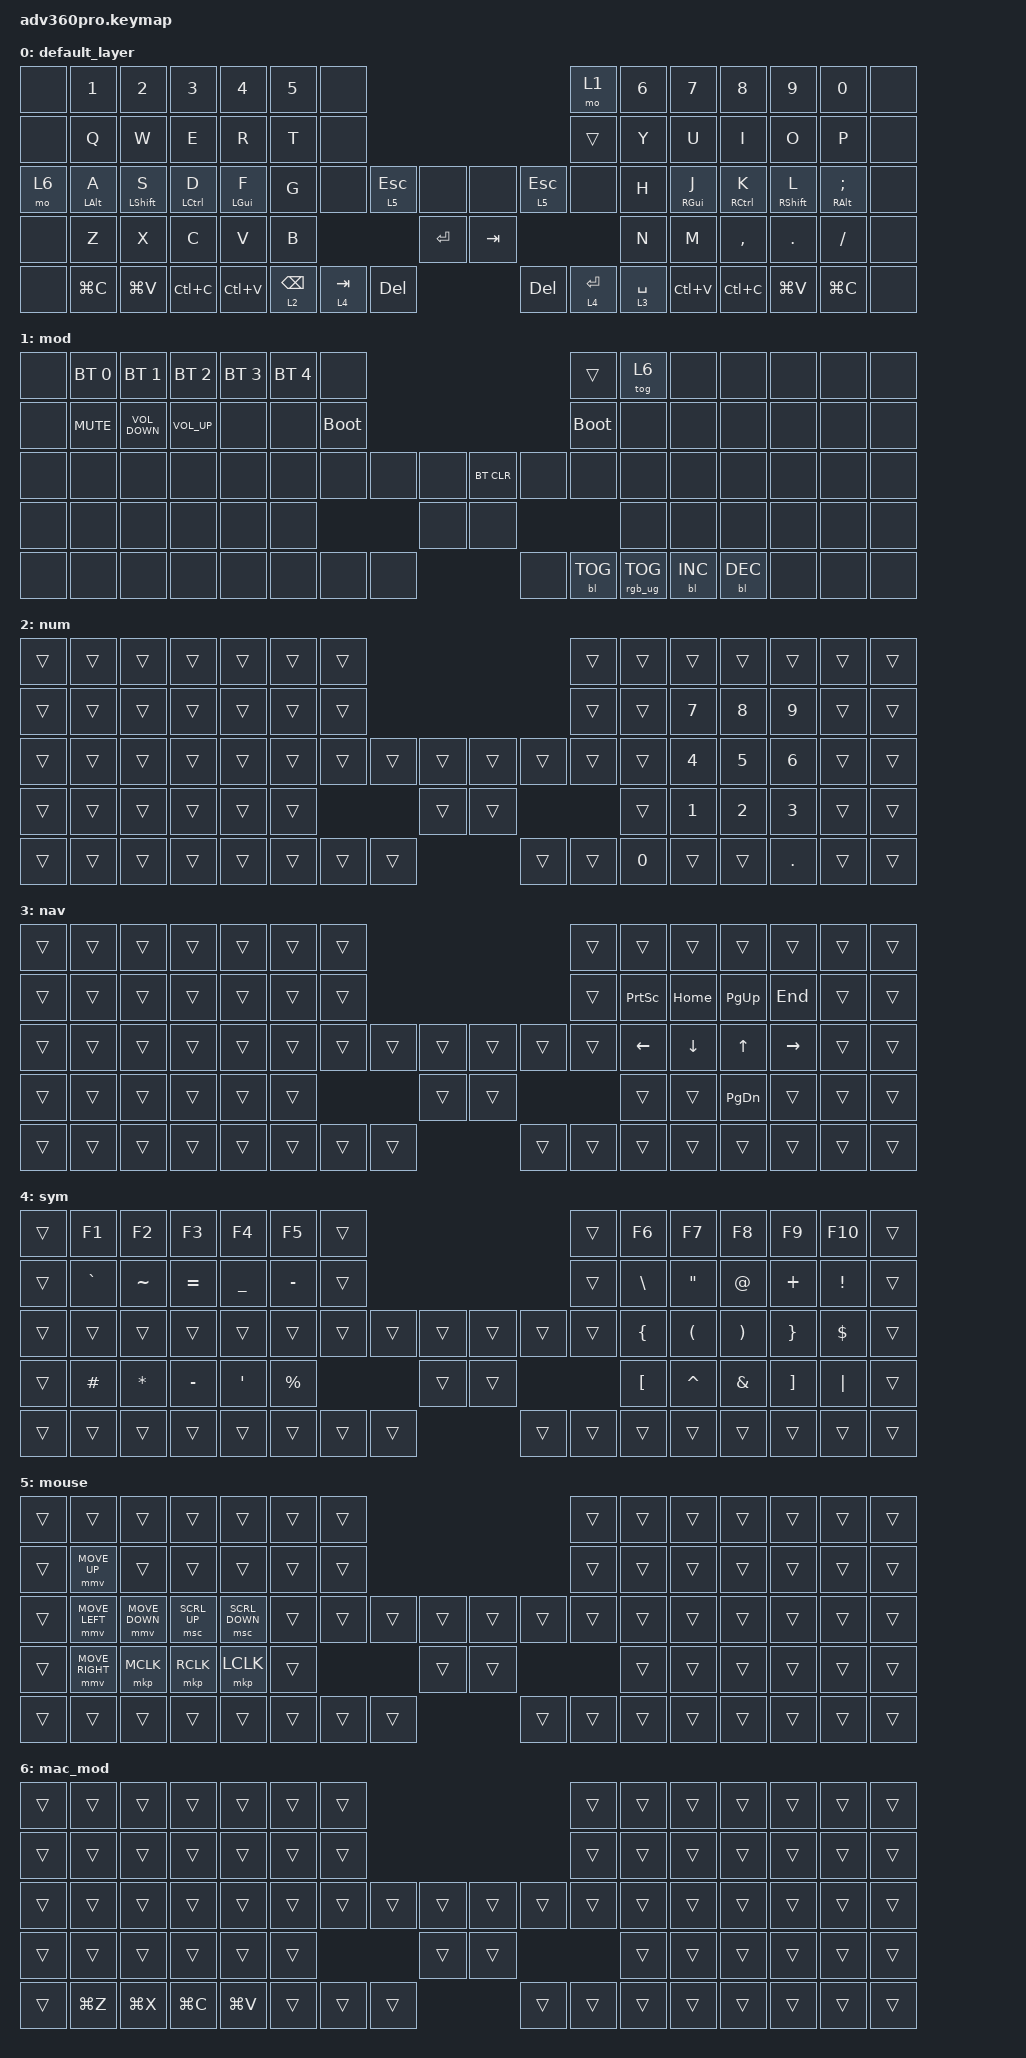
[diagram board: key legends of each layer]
#include <dt-bindings/zmk/mouse.h>
#include <behaviors.dtsi>
#include <dt-bindings/zmk/backlight.h>
#include <dt-bindings/zmk/bt.h>
#include <dt-bindings/zmk/keys.h>
#include <dt-bindings/zmk/pointing.h>
#include <dt-bindings/zmk/rgb.h>

&mt {
    tapping-term-ms = <200>;
    require-prior-idle-ms = <200>;
    flavor = "balanced";
};

/ {
    keymap {
        compatible = "zmk,keymap";

        default_layer {
            bindings = <
&none  &kp N1          &kp N2            &kp N3       &kp N4          &kp N5  &none                                                                                   &mo 1   &kp N6  &kp N7           &kp N8       &kp N9             &kp N0              &none
&none  &kp Q           &kp W             &kp E        &kp R           &kp T   &none                                                                                   &trans  &kp Y   &kp U            &kp I        &kp O              &kp P               &none
&mo 6  &mt LEFT_ALT A  &mt LEFT_SHIFT S  &mt LCTRL D  &mt LEFT_GUI F  &kp G   &none                   &lt 5 ESCAPE  &none         &none    &lt 5 ESCAPE               &none   &kp H   &mt RIGHT_GUI J  &mt RCTRL K  &mt RIGHT_SHIFT L  &mt RIGHT_ALT SEMI  &none
&none  &kp Z           &kp X             &kp C        &kp V           &kp B                                         &kp ENTER     &kp TAB                                     &kp N   &kp M            &kp COMMA    &kp DOT            &kp FSLH            &none
&none  &kp LG(C)       &kp LG(V)         &kp LC(C)    &kp LC(V)                      &lt 2 BACKSPACE  &lt 4 TAB     &kp DELETE    &kp DEL  &lt 4 RETURN  &lt 3 SPACE                  &kp LC(V)        &kp LC(C)    &kp LG(V)          &kp LG(C)           &none
            >;
        };

        mod {
            bindings = <
&none  &bt BT_SEL 0  &bt BT_SEL 1       &bt BT_SEL 2     &bt BT_SEL 3  &bt BT_SEL 4  &none                                                                        &trans       &tog 6  &none       &none       &none  &none  &none
&none  &kp C_MUTE    &kp C_VOLUME_DOWN  &kp C_VOLUME_UP  &none         &none         &bootloader                                                                  &bootloader  &none   &none       &none       &none  &none  &none
&none  &none         &none              &none            &none         &none         &none               &none  &none    &bt BT_CLR  &none                        &none        &none   &none       &none       &none  &none  &none
&none  &none         &none              &none            &none         &none                                    &none    &none                                                 &none   &none       &none       &none  &none  &none
&none  &none         &none              &none            &none                                    &none  &none  &none    &none       &bl BL_TOG  &rgb_ug RGB_TOG                       &bl BL_INC  &bl BL_DEC  &none  &none  &none
            >;
        };

        num {
            bindings = <
&trans  &trans  &trans  &trans  &trans  &trans  &trans                                                    &trans  &trans  &trans  &trans  &trans   &trans  &trans
&trans  &trans  &trans  &trans  &trans  &trans  &trans                                                    &trans  &trans  &kp N7  &kp N8  &kp N9   &trans  &trans
&trans  &trans  &trans  &trans  &trans  &trans  &trans          &trans  &trans    &trans  &trans          &trans  &trans  &kp N4  &kp N5  &kp N6   &trans  &trans
&trans  &trans  &trans  &trans  &trans  &trans                          &trans    &trans                          &trans  &kp N1  &kp N2  &kp N3   &trans  &trans
&trans  &trans  &trans  &trans  &trans                  &trans  &trans  &trans    &trans  &trans  &kp N0                  &trans  &trans  &kp DOT  &trans  &trans
            >;
        };

        nav {
            bindings = <
&trans  &trans  &trans  &trans  &trans  &trans  &trans                                                    &trans  &trans           &trans    &trans     &trans     &trans  &trans
&trans  &trans  &trans  &trans  &trans  &trans  &trans                                                    &trans  &kp PRINTSCREEN  &kp HOME  &kp PG_UP  &kp END    &trans  &trans
&trans  &trans  &trans  &trans  &trans  &trans  &trans          &trans  &trans    &trans  &trans          &trans  &kp LEFT         &kp DOWN  &kp UP     &kp RIGHT  &trans  &trans
&trans  &trans  &trans  &trans  &trans  &trans                          &trans    &trans                          &trans           &trans    &kp PG_DN  &trans     &trans  &trans
&trans  &trans  &trans  &trans  &trans                  &trans  &trans  &trans    &trans  &trans  &trans                           &trans    &trans     &trans     &trans  &trans
            >;
        };

        sym {
            bindings = <
&trans  &kp F1     &kp F2     &kp F3     &kp F4          &kp F5       &trans                                                    &trans  &kp F6         &kp F7             &kp F8    &kp F9    &kp F10          &trans
&trans  &kp GRAVE  &kp TILDE  &kp EQUAL  &kp UNDERSCORE  &kp MINUS    &trans                                                    &trans  &kp BACKSLASH  &kp DOUBLE_QUOTES  &kp AT    &kp PLUS  &kp EXCLAMATION  &trans
&trans  &trans     &trans     &trans     &trans          &trans       &trans          &trans  &trans    &trans  &trans          &trans  &kp LBRC       &kp LPAR           &kp RPAR  &kp RBRC  &kp DOLLAR       &trans
&trans  &kp POUND  &kp STAR   &kp MINUS  &kp SQT         &kp PERCENT                          &trans    &trans                          &kp LBKT       &kp CARET          &kp AMPS  &kp RBKT  &kp PIPE         &trans
&trans  &trans     &trans     &trans     &trans                               &trans  &trans  &trans    &trans  &trans  &trans                         &trans             &trans    &trans    &trans           &trans
            >;
        };

        mouse {
            bindings = <
&trans  &trans           &trans          &trans        &trans          &trans  &trans                                                    &trans  &trans  &trans  &trans  &trans  &trans  &trans
&trans  &mmv MOVE_UP     &trans          &trans        &trans          &trans  &trans                                                    &trans  &trans  &trans  &trans  &trans  &trans  &trans
&trans  &mmv MOVE_LEFT   &mmv MOVE_DOWN  &msc SCRL_UP  &msc SCRL_DOWN  &trans  &trans          &trans  &trans    &trans  &trans          &trans  &trans  &trans  &trans  &trans  &trans  &trans
&trans  &mmv MOVE_RIGHT  &mkp MCLK       &mkp RCLK     &mkp LCLK       &trans                          &trans    &trans                          &trans  &trans  &trans  &trans  &trans  &trans
&trans  &trans           &trans          &trans        &trans                          &trans  &trans  &trans    &trans  &trans  &trans                  &trans  &trans  &trans  &trans  &trans
            >;
        };

        mac_mod {
            bindings = <
&trans  &trans     &trans     &trans     &trans     &trans  &trans                                                    &trans  &trans  &trans  &trans  &trans  &trans  &trans
&trans  &trans     &trans     &trans     &trans     &trans  &trans                                                    &trans  &trans  &trans  &trans  &trans  &trans  &trans
&trans  &trans     &trans     &trans     &trans     &trans  &trans          &trans  &trans    &trans  &trans          &trans  &trans  &trans  &trans  &trans  &trans  &trans
&trans  &trans     &trans     &trans     &trans     &trans                          &trans    &trans                          &trans  &trans  &trans  &trans  &trans  &trans
&trans  &kp LG(Z)  &kp LG(X)  &kp LG(C)  &kp LG(V)                  &trans  &trans  &trans    &trans  &trans  &trans                  &trans  &trans  &trans  &trans  &trans
            >;
        };
    };
};
